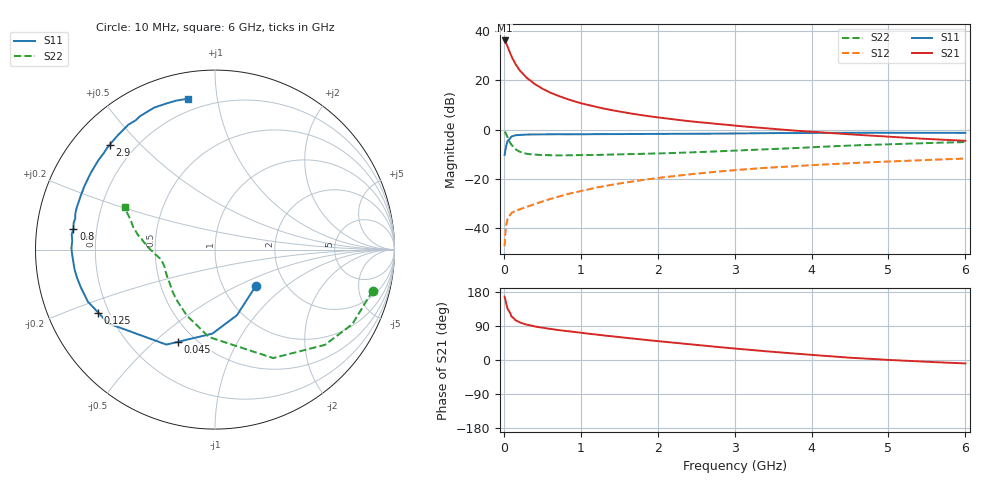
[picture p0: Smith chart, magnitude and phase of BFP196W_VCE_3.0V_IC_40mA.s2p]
! Infineon Technologies  Discrete & RF Semiconductors
! BFP196W
! VCE = 3.0 V,  IC =  40mA
! Common Emitter S-Parameters:  Jan 2016
# GHz  S  MA  R  50
!  f  S11  S21  S12  S22
! GHz  MAG  ANG  MAG  ANG  MAG  ANG  MAG  ANG
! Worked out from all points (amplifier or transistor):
!   210 points, 10 MHz to 6 GHz, reference 50 ohm
!   highest |S21| = 36.3 dB at 10 MHz (marker M1)
!   |S21| within 3 dB of that: start of sweep to 55.09 MHz
!   unconditionally stable (mu >= 1): 669.6 MHz to 3.358 GHz
!   at 185 MHz: K = 0.50, MSG = 28.9 dB, |S12| = -32.8 dB
!   at 1.52 GHz: K = 1.12, MAG = 12.5 dB, |S12| = -21.9 dB
!   at 6 GHz: K = 0.95, MSG = 3.6 dB, |S12| = -11.8 dB
!   S11 on the Smith chart (normalised r, x): 10 MHz: 1.43, -0.63; 45 MHz: 0.40, -0.60; 125 MHz: 0.16, -0.25; 800 MHz: 0.11, +0.07; 2.9 GHz: 0.11, +0.41; 6 GHz: 0.13, +0.83
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0.01  0.304 -41.2  65.17 167.2  0.0042 78.6  0.908 -14.6
0.02  0.3856 -71.5  62.89 157.9  0.008 69.1  0.8706 -28.5
0.03  0.4684 -91.8  58.36 148.7  0.0112 62.3  0.8105 -40.9
0.045  0.5541 -111.9  50.32 138.2  0.0144 53.5  0.7072 -55.9
0.05  0.5946 -117.1  48.09 134.0  0.0155 51.4  0.6856 -61.8
0.1  0.7221 -145.2  30.52 114.8  0.02 39.2  0.4883 -94.0
0.125  0.7392 -151.6  25.97 110.8  0.021 37.6  0.4376 -102.6
0.15  0.7652 -157.7  21.6 105.1  0.022 36.2  0.3993 -113.2
0.2  0.777 -164.5  16.49 99.8  0.0235 37.9  0.3567 -125.7
0.24  0.7834 -168.1  14.02 96.9  0.0247 39.4  0.3395 -132.3
0.3  0.7905 -172.2  11.16 93.2  0.0267 42.2  0.319 -140.8
0.4  0.7952 -177.1  8.449 88.6  0.0302 46.3  0.3076 -149.2
0.5  0.7999 179.5  6.804 85.0  0.0341 49.7  0.3024 -154.8
0.6  0.7969 176.5  5.671 82.0  0.0383 52.8  0.2989 -158.6
0.8  0.7971 171.6  4.284 76.7  0.0471 56.4  0.2976 -163.2
1.02  0.7987 167.2  3.373 71.4  0.0566 58.4  0.3009 -166.4
2.02  0.8127 149.3  1.75 49.4  0.1036 57.4  0.3253 -174.1
2.9  0.8279 135.0  1.239 32.2  0.144 51.0  0.3656 179.1
3.1  0.8325 132.0  1.162 28.6  0.1527 49.2  0.377 177.2
4.1  0.8533 118.2  0.88 12.0  0.1917 41.0  0.4422 168.5
5.1  0.8576 107.6  0.698 -0.7  0.226 33.0  0.5061 159.7
6  0.8541 100.3  0.589 -9.1  0.2562 26.6  0.5542 154.5
